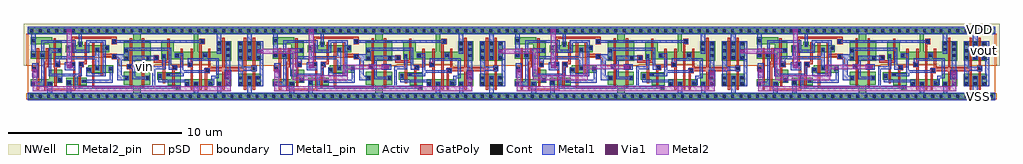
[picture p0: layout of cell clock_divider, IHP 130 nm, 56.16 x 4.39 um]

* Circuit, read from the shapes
.subckt clock_divider VDD VSS vin vout
XM1 n1 sg13cmos5l_dfrbp_1_0/D n2 VSS sg13_lv_nmos w=0.42u l=0.13u
XM2 VSS VDD n1 VSS sg13_lv_nmos w=0.42u l=0.13u
XM3 n3 n4 VSS VSS sg13_lv_nmos w=0.74u l=0.13u
XM4 n5 VDD VSS VSS sg13_lv_nmos w=0.42u l=0.13u
XM5 n6 n3 n5 VSS sg13_lv_nmos w=0.42u l=0.13u
XM6 n4 n7 n2 VSS sg13_lv_nmos w=0.42u l=0.13u
XM7 n6 n8 n4 VSS sg13_lv_nmos w=0.42u l=0.13u
XM8 VSS n7 n8 VSS sg13_lv_nmos w=0.74u l=0.13u
XM9 n7 vin VSS VSS sg13_lv_nmos w=0.74u l=0.13u
XM10 n9 n7 n10 VSS sg13_lv_nmos w=0.42u l=0.13u
XM11 n3 n8 n9 VSS sg13_lv_nmos w=0.74u l=0.13u
XM12 VSS n11 n10 VSS sg13_lv_nmos w=0.42u l=0.13u
XM13 n12 VDD VSS VSS sg13_lv_nmos w=0.42u l=0.13u
XM14 n11 n9 n12 VSS sg13_lv_nmos w=0.42u l=0.13u
XM15 sg13cmos5l_dfrbp_1_0/D n9 VSS VSS sg13_lv_nmos w=0.74u l=0.13u
XM16 VSS n9 n13 VSS sg13_lv_nmos w=0.74u l=0.13u
XM17 sg13cmos5l_dfrbp_1_1/CLK n13 VSS VSS sg13_lv_nmos w=0.74u l=0.13u
XM18 n14 sg13cmos5l_dfrbp_1_1/D n15 VSS sg13_lv_nmos w=0.42u l=0.13u
XM19 VSS VDD n14 VSS sg13_lv_nmos w=0.42u l=0.13u
XM20 n16 n17 VSS VSS sg13_lv_nmos w=0.74u l=0.13u
XM21 n18 VDD VSS VSS sg13_lv_nmos w=0.42u l=0.13u
XM22 n19 n16 n18 VSS sg13_lv_nmos w=0.42u l=0.13u
XM23 n17 n20 n15 VSS sg13_lv_nmos w=0.42u l=0.13u
XM24 n19 n21 n17 VSS sg13_lv_nmos w=0.42u l=0.13u
XM25 VSS n20 n21 VSS sg13_lv_nmos w=0.74u l=0.13u
XM26 n20 sg13cmos5l_dfrbp_1_1/CLK VSS VSS sg13_lv_nmos w=0.74u l=0.13u
XM27 n22 n20 n23 VSS sg13_lv_nmos w=0.42u l=0.13u
XM28 n16 n21 n22 VSS sg13_lv_nmos w=0.74u l=0.13u
XM29 VSS n24 n23 VSS sg13_lv_nmos w=0.42u l=0.13u
XM30 n25 VDD VSS VSS sg13_lv_nmos w=0.42u l=0.13u
XM31 n24 n22 n25 VSS sg13_lv_nmos w=0.42u l=0.13u
XM32 sg13cmos5l_dfrbp_1_1/D n22 VSS VSS sg13_lv_nmos w=0.74u l=0.13u
XM33 VSS n22 n26 VSS sg13_lv_nmos w=0.74u l=0.13u
XM34 sg13cmos5l_dfrbp_1_2/CLK n26 VSS VSS sg13_lv_nmos w=0.74u l=0.13u
XM35 n27 sg13cmos5l_dfrbp_1_2/D n28 VSS sg13_lv_nmos w=0.42u l=0.13u
XM36 VSS VDD n27 VSS sg13_lv_nmos w=0.42u l=0.13u
XM37 n29 n30 VSS VSS sg13_lv_nmos w=0.74u l=0.13u
XM38 n31 VDD VSS VSS sg13_lv_nmos w=0.42u l=0.13u
XM39 n32 n29 n31 VSS sg13_lv_nmos w=0.42u l=0.13u
XM40 n30 n33 n28 VSS sg13_lv_nmos w=0.42u l=0.13u
XM41 n32 n34 n30 VSS sg13_lv_nmos w=0.42u l=0.13u
XM42 VSS n33 n34 VSS sg13_lv_nmos w=0.74u l=0.13u
XM43 n33 sg13cmos5l_dfrbp_1_2/CLK VSS VSS sg13_lv_nmos w=0.74u l=0.13u
XM44 n35 n33 n36 VSS sg13_lv_nmos w=0.42u l=0.13u
XM45 n29 n34 n35 VSS sg13_lv_nmos w=0.74u l=0.13u
XM46 VSS n37 n36 VSS sg13_lv_nmos w=0.42u l=0.13u
XM47 n38 VDD VSS VSS sg13_lv_nmos w=0.42u l=0.13u
XM48 n37 n35 n38 VSS sg13_lv_nmos w=0.42u l=0.13u
XM49 sg13cmos5l_dfrbp_1_2/D n35 VSS VSS sg13_lv_nmos w=0.74u l=0.13u
XM50 VSS n35 n39 VSS sg13_lv_nmos w=0.74u l=0.13u
XM51 sg13cmos5l_dfrbp_1_3/CLK n39 VSS VSS sg13_lv_nmos w=0.74u l=0.13u
XM52 n40 sg13cmos5l_dfrbp_1_3/D n41 VSS sg13_lv_nmos w=0.42u l=0.13u
XM53 VSS VDD n40 VSS sg13_lv_nmos w=0.42u l=0.13u
XM54 n42 n43 VSS VSS sg13_lv_nmos w=0.74u l=0.13u
XM55 n44 VDD VSS VSS sg13_lv_nmos w=0.42u l=0.13u
XM56 n45 n42 n44 VSS sg13_lv_nmos w=0.42u l=0.13u
XM57 n43 n46 n41 VSS sg13_lv_nmos w=0.42u l=0.13u
XM58 n45 n47 n43 VSS sg13_lv_nmos w=0.42u l=0.13u
XM59 VSS n46 n47 VSS sg13_lv_nmos w=0.74u l=0.13u
XM60 n46 sg13cmos5l_dfrbp_1_3/CLK VSS VSS sg13_lv_nmos w=0.74u l=0.13u
XM61 n48 n46 n49 VSS sg13_lv_nmos w=0.42u l=0.13u
XM62 n42 n47 n48 VSS sg13_lv_nmos w=0.74u l=0.13u
XM63 VSS n50 n49 VSS sg13_lv_nmos w=0.42u l=0.13u
XM64 n51 VDD VSS VSS sg13_lv_nmos w=0.42u l=0.13u
XM65 n50 n48 n51 VSS sg13_lv_nmos w=0.42u l=0.13u
XM66 sg13cmos5l_dfrbp_1_3/D n48 VSS VSS sg13_lv_nmos w=0.74u l=0.13u
XM67 VSS n48 n52 VSS sg13_lv_nmos w=0.74u l=0.13u
XM68 vout n52 VSS VSS sg13_lv_nmos w=0.74u l=0.13u
XM69 n2 sg13cmos5l_dfrbp_1_0/D VDD VDD sg13_lv_pmos w=0.42u l=0.13u
XM70 VDD VDD n2 VDD sg13_lv_pmos w=0.42u l=0.13u
XM71 n3 n4 VDD VDD sg13_lv_pmos w=1u l=0.13u
XM72 VDD VDD n4 VDD sg13_lv_pmos w=0.42u l=0.13u
XM73 n53 n3 VDD VDD sg13_lv_pmos w=0.42u l=0.13u
XM74 n4 n7 n53 VDD sg13_lv_pmos w=0.42u l=0.13u
XM75 n2 n8 n4 VDD sg13_lv_pmos w=0.42u l=0.13u
XM76 VDD n7 n8 VDD sg13_lv_pmos w=1.12u l=0.13u
XM77 n7 vin VDD VDD sg13_lv_pmos w=1.12u l=0.13u
XM78 n9 n7 n3 VDD sg13_lv_pmos w=1u l=0.13u
XM79 n54 n8 n9 VDD sg13_lv_pmos w=0.42u l=0.13u
XM80 VDD n11 n54 VDD sg13_lv_pmos w=0.42u l=0.13u
XM81 n11 VDD VDD VDD sg13_lv_pmos w=0.42u l=0.13u
XM82 VDD n9 n11 VDD sg13_lv_pmos w=0.42u l=0.13u
XM83 sg13cmos5l_dfrbp_1_0/D n9 VDD VDD sg13_lv_pmos w=1.12u l=0.13u
XM84 VDD n9 n13 VDD sg13_lv_pmos w=1.12u l=0.13u
XM85 sg13cmos5l_dfrbp_1_1/CLK n13 VDD VDD sg13_lv_pmos w=1.12u l=0.13u
XM86 n15 sg13cmos5l_dfrbp_1_1/D VDD VDD sg13_lv_pmos w=0.42u l=0.13u
XM87 VDD VDD n15 VDD sg13_lv_pmos w=0.42u l=0.13u
XM88 n16 n17 VDD VDD sg13_lv_pmos w=1u l=0.13u
XM89 VDD VDD n17 VDD sg13_lv_pmos w=0.42u l=0.13u
XM90 n55 n16 VDD VDD sg13_lv_pmos w=0.42u l=0.13u
XM91 n17 n20 n55 VDD sg13_lv_pmos w=0.42u l=0.13u
XM92 n15 n21 n17 VDD sg13_lv_pmos w=0.42u l=0.13u
XM93 VDD n20 n21 VDD sg13_lv_pmos w=1.12u l=0.13u
XM94 n20 sg13cmos5l_dfrbp_1_1/CLK VDD VDD sg13_lv_pmos w=1.12u l=0.13u
XM95 n22 n20 n16 VDD sg13_lv_pmos w=1u l=0.13u
XM96 n56 n21 n22 VDD sg13_lv_pmos w=0.42u l=0.13u
XM97 VDD n24 n56 VDD sg13_lv_pmos w=0.42u l=0.13u
XM98 n24 VDD VDD VDD sg13_lv_pmos w=0.42u l=0.13u
XM99 VDD n22 n24 VDD sg13_lv_pmos w=0.42u l=0.13u
XM100 sg13cmos5l_dfrbp_1_1/D n22 VDD VDD sg13_lv_pmos w=1.12u l=0.13u
XM101 VDD n22 n26 VDD sg13_lv_pmos w=1.12u l=0.13u
XM102 sg13cmos5l_dfrbp_1_2/CLK n26 VDD VDD sg13_lv_pmos w=1.12u l=0.13u
XM103 n28 sg13cmos5l_dfrbp_1_2/D VDD VDD sg13_lv_pmos w=0.42u l=0.13u
XM104 VDD VDD n28 VDD sg13_lv_pmos w=0.42u l=0.13u
XM105 n29 n30 VDD VDD sg13_lv_pmos w=1u l=0.13u
XM106 VDD VDD n30 VDD sg13_lv_pmos w=0.42u l=0.13u
XM107 n57 n29 VDD VDD sg13_lv_pmos w=0.42u l=0.13u
XM108 n30 n33 n57 VDD sg13_lv_pmos w=0.42u l=0.13u
XM109 n28 n34 n30 VDD sg13_lv_pmos w=0.42u l=0.13u
XM110 VDD n33 n34 VDD sg13_lv_pmos w=1.12u l=0.13u
XM111 n33 sg13cmos5l_dfrbp_1_2/CLK VDD VDD sg13_lv_pmos w=1.12u l=0.13u
XM112 n35 n33 n29 VDD sg13_lv_pmos w=1u l=0.13u
XM113 n58 n34 n35 VDD sg13_lv_pmos w=0.42u l=0.13u
XM114 VDD n37 n58 VDD sg13_lv_pmos w=0.42u l=0.13u
XM115 n37 VDD VDD VDD sg13_lv_pmos w=0.42u l=0.13u
XM116 VDD n35 n37 VDD sg13_lv_pmos w=0.42u l=0.13u
XM117 sg13cmos5l_dfrbp_1_2/D n35 VDD VDD sg13_lv_pmos w=1.12u l=0.13u
XM118 VDD n35 n39 VDD sg13_lv_pmos w=1.12u l=0.13u
XM119 sg13cmos5l_dfrbp_1_3/CLK n39 VDD VDD sg13_lv_pmos w=1.12u l=0.13u
XM120 n41 sg13cmos5l_dfrbp_1_3/D VDD VDD sg13_lv_pmos w=0.42u l=0.13u
XM121 VDD VDD n41 VDD sg13_lv_pmos w=0.42u l=0.13u
XM122 n42 n43 VDD VDD sg13_lv_pmos w=1u l=0.13u
XM123 VDD VDD n43 VDD sg13_lv_pmos w=0.42u l=0.13u
XM124 n59 n42 VDD VDD sg13_lv_pmos w=0.42u l=0.13u
XM125 n43 n46 n59 VDD sg13_lv_pmos w=0.42u l=0.13u
XM126 n41 n47 n43 VDD sg13_lv_pmos w=0.42u l=0.13u
XM127 VDD n46 n47 VDD sg13_lv_pmos w=1.12u l=0.13u
XM128 n46 sg13cmos5l_dfrbp_1_3/CLK VDD VDD sg13_lv_pmos w=1.12u l=0.13u
XM129 n48 n46 n42 VDD sg13_lv_pmos w=1u l=0.13u
XM130 n60 n47 n48 VDD sg13_lv_pmos w=0.42u l=0.13u
XM131 VDD n50 n60 VDD sg13_lv_pmos w=0.42u l=0.13u
XM132 n50 VDD VDD VDD sg13_lv_pmos w=0.42u l=0.13u
XM133 VDD n48 n50 VDD sg13_lv_pmos w=0.42u l=0.13u
XM134 sg13cmos5l_dfrbp_1_3/D n48 VDD VDD sg13_lv_pmos w=1.12u l=0.13u
XM135 VDD n48 n52 VDD sg13_lv_pmos w=1.12u l=0.13u
XM136 vout n52 VDD VDD sg13_lv_pmos w=1.12u l=0.13u
.ends

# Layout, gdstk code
import gdstk
lib = gdstk.Library(unit=1e-6, precision=1e-09)
def R(c, l, rs):  # rectangles x0, y0, x1, y1
    for r in rs: c.add(gdstk.rectangle(r[:2], r[2:], *l))
def A(c, l, x, y, w, h, nx, ny, dx, dy):  # array of equal rectangles
    R(c, l, [(x+i*dx, y+j*dy, x+i*dx+w, y+j*dy+h) for i in range(nx) for j in range(ny)])
def P(c, l, *ps):  # polygons
    for p in ps: c.add(gdstk.Polygon(p, *l))
Activ = (1, 0)
GatPoly = (5, 0)
Cont = (6, 0)
Metal1 = (8, 0)
Metal1_pin = (8, 2)
Metal2 = (10, 0)
Metal2_pin = (10, 2)
pSD = (14, 0)
Via1 = (19, 0)
NWell = (31, 0)
boundary = (189, 4)

sg13cmos5l_dfrbp_1 = lib.new_cell('sg13cmos5l_dfrbp_1')
R(sg13cmos5l_dfrbp_1, Activ, [(9.03,0.57,10.66,0.99), (10.87,0.57,11.725,1.31), (12.105,0.57,13.425,1.31), (2.215,0.635,3.4,1.055), (12.1,2.06,13.425,3.18), (0,3.63,13.92,3.93)])
P(sg13cmos5l_dfrbp_1, Activ, [(0,-0.15),(0,0.15),(6.075,0.15),(6.075,0.675),(5.535,0.675),(5.535,1.415),(7.045,1.415),(7.045,0.675),(6.505,0.675),(6.505,0.15),(13.92,0.15),(13.92,-0.15)],
  [(10.87,2.06),(10.87,2.145),(7.695,2.145),(7.695,3.145),(8.415,3.145),(8.415,2.565),(9.57,2.565),(9.57,3.63),(9.81,3.63),(9.81,2.565),(10.87,2.565),(10.87,3.18),(11.725,3.18),(11.725,2.06)],
  [(8.52,0.39),(8.52,0.635),(8.06,0.635),(8.06,0.955),(7.445,0.955),(7.445,1.375),(8.82,1.375),(8.82,0.39)],
  [(5.53,2.05),(5.53,3.17),(6.075,3.17),(6.075,3.63),(6.505,3.63),(6.505,3.17),(7.07,3.17),(7.07,2.05)],
  [(3.365,1.36),(3.365,1.66),(3.475,1.66),(3.475,1.78),(4.91,1.78),(4.91,1.36)],
  [(2.19,2.525),(2.19,2.945),(2.88,2.945),(2.88,3.14),(3.18,3.14),(3.18,2.945),(4.685,2.945),(4.685,2.525)],
  [(0.19,0.57),(0.19,0.99),(1.245,0.99),(1.245,1.535),(2,1.535),(2,0.795),(1.445,0.795),(1.445,0.57)],
  [(0.19,2.16),(0.19,2.58),(1.24,2.58),(1.24,3.01),(0.19,3.01),(0.19,3.395),(1.415,3.395),(1.415,3.16),(1.96,3.16),(1.96,2.16)])
R(sg13cmos5l_dfrbp_1, GatPoly, [(12.955,0.39,13.085,3.36), (12.87,1.445,13.17,1.745)])
P(sg13cmos5l_dfrbp_1, GatPoly, [(9.88,0.39),(9.88,3.305),(10.18,3.305),(10.18,3.005),(10.01,3.005),(10.01,0.39)],
  [(3.705,0.465),(3.705,3.125),(3.835,3.125),(3.835,0.605),(5.875,0.605),(5.875,1.555),(5.705,1.555),(5.705,1.855),(5.875,1.855),(5.875,3.35),(6.005,3.35),(6.005,0.465)],
  [(0.53,0.39),(0.53,1.455),(0.235,1.455),(0.235,1.755),(0.53,1.755),(0.53,2.76),(0.66,2.76),(0.66,0.39)],
  [(10.19,0.39),(10.19,1.635),(10.39,1.635),(10.39,2.745),(10.52,2.745),(10.52,1.635),(11.21,1.635),(11.21,3.36),(11.34,3.36),(11.34,1.635),(12.445,1.635),(12.445,3.36),(12.575,3.36),(12.575,0.39),(12.445,0.39),(12.445,1.45),(11.34,1.45),(11.34,0.39),(11.21,0.39),(11.21,1.45),(10.49,1.45),(10.49,1.335),(10.32,1.335),(10.32,0.39)],
  [(9.37,0.39),(9.37,1.67),(9.2,1.67),(9.2,1.97),(9.37,1.97),(9.37,2.745),(9.5,2.745),(9.5,0.39)],
  [(7.785,0.765),(7.785,1.92),(7.245,1.92),(7.245,2.35),(7.545,2.35),(7.545,2.07),(8.035,2.07),(8.035,3.325),(8.165,3.325),(8.165,1.92),(7.915,1.92),(7.915,0.765)],
  [(6.575,0.495),(6.575,3.35),(6.705,3.35),(6.705,1.855),(6.875,1.855),(6.875,1.555),(6.705,1.555),(6.705,0.495)],
  [(4.215,1.18),(4.215,3.125),(4.345,3.125),(4.345,2.44),(5.135,2.44),(5.135,2.14),(4.835,2.14),(4.835,2.29),(4.345,2.29),(4.345,1.18)],
  [(2.93,0.425),(2.93,1.985),(3.275,1.985),(3.275,3.125),(3.405,3.125),(3.405,1.855),(3.23,1.855),(3.23,1.685),(3.06,1.685),(3.06,0.425)],
  [(0.95,0.295),(0.95,1.98),(1.04,1.98),(1.04,2.76),(1.17,2.76),(1.17,1.685),(1.08,1.685),(1.08,0.43),(2.62,0.43),(2.62,1.685),(2.45,1.685),(2.45,1.985),(2.54,1.985),(2.54,3.435),(5.135,3.435),(5.135,3.005),(4.835,3.005),(4.835,3.305),(2.67,3.305),(2.67,1.985),(2.75,1.985),(2.75,0.295)],
  [(1.53,0.615),(1.53,1.685),(1.49,1.685),(1.49,3.34),(1.62,3.34),(1.62,1.985),(1.865,1.985),(1.865,1.685),(1.66,1.685),(1.66,0.615)],
  [(8.32,0.445),(8.32,1.805),(8.795,1.805),(8.795,2.745),(8.925,2.745),(8.925,1.66),(8.62,1.66),(8.62,1.505),(8.45,1.505),(8.45,0.445)])
A(sg13cmos5l_dfrbp_1, Cont, 0.16, -0.08, 0.16, 0.16, 29, 2, 0.48, 3.78)
A(sg13cmos5l_dfrbp_1, Cont, 10.43, 0.64, 0.16, 0.16, 3, 1, 0.51, 0)
A(sg13cmos5l_dfrbp_1, Cont, 12.175, 0.64, 0.16, 0.16, 3, 2, 0.51, 0.34)
A(sg13cmos5l_dfrbp_1, Cont, 12.17, 2.135, 0.16, 0.16, 1, 3, 0, 0.405)
A(sg13cmos5l_dfrbp_1, Cont, 12.685, 2.135, 0.16, 0.16, 1, 3, 0, 0.405)
A(sg13cmos5l_dfrbp_1, Cont, 13.195, 2.135, 0.16, 0.16, 1, 3, 0, 0.405)
A(sg13cmos5l_dfrbp_1, Cont, 11.45, 2.27, 0.16, 0.16, 1, 3, 0, 0.34)
R(sg13cmos5l_dfrbp_1, Cont, [(8.59,0.465,8.75,0.625), (0.26,0.64,0.42,0.8), (1.19,0.64,1.35,0.8), (9.1,0.64,9.26,0.8), (9.61,0.64,9.77,0.8), (2.285,0.705,2.445,0.865), (3.17,0.795,3.33,0.955), (1.77,0.88,1.93,1.04), (5.605,0.97,5.765,1.13), (6.815,0.97,6.975,1.13), (11.45,0.98,11.61,1.14), (7.515,1.075,7.675,1.235), (8.025,1.145,8.185,1.305), (10.26,1.405,10.42,1.565), (3.435,1.43,3.595,1.59), (4.68,1.49,4.84,1.65), (12.94,1.515,13.1,1.675), (0.305,1.525,0.465,1.685), (3.945,1.55,4.105,1.71), (8.39,1.575,8.55,1.735), (5.775,1.625,5.935,1.785), (6.645,1.625,6.805,1.785), (9.27,1.74,9.43,1.9), (1.635,1.755,1.795,1.915), (2.52,1.755,2.68,1.915), (3,1.755,3.16,1.915), (5.6,2.12,5.76,2.28), (6.84,2.12,7,2.28), (7.315,2.12,7.475,2.28), (4.905,2.21,5.065,2.37), (7.765,2.215,7.925,2.375), (8.525,2.275,8.685,2.435), (10.12,2.275,10.28,2.435), (0.26,2.29,0.42,2.45), (0.77,2.29,0.93,2.45), (5.6,2.54,5.76,2.7), (1.73,2.55,1.89,2.71), (3.945,2.595,4.105,2.755), (10.94,2.61,11.1,2.77), (2.26,2.69,2.42,2.85), (4.455,2.705,4.615,2.865), (2.95,2.91,3.11,3.07), (10.94,2.95,11.1,3.11), (4.905,3.075,5.065,3.235), (9.95,3.075,10.11,3.235), (0.265,3.12,0.425,3.28)])
R(sg13cmos5l_dfrbp_1, Metal1, [(0.255,1.07,0.6,1.89), (2.145,1.51,2.75,1.965), (6.45,1.52,6.99,1.84)])
P(sg13cmos5l_dfrbp_1, Metal1, [(10.38,0.625),(10.38,0.885),(10.57,0.885),(10.57,1.19),(10.84,1.19),(10.84,2.035),(9.48,2.035),(9.48,1.69),(9.22,1.69),(9.22,2.195),(10.07,2.195),(10.07,2.495),(10.33,2.495),(10.33,2.195),(11,2.195),(11,1.03),(10.73,1.03),(10.73,0.625)],
  [(12.125,0.59),(12.125,3.155),(12.385,3.155),(12.385,1.71),(12.87,1.71),(12.87,1.745),(13.17,1.745),(13.17,1.445),(12.87,1.445),(12.87,1.485),(12.385,1.485),(12.385,0.59)],
  [(13.125,0.59),(13.125,1.19),(13.35,1.19),(13.35,2.095),(13.145,2.095),(13.145,3.155),(13.56,3.155),(13.56,0.59)],
  [(4.855,3.025),(4.855,3.285),(5.115,3.285),(5.115,3.235),(9.91,3.235),(9.91,3.285),(10.16,3.285),(10.16,3.025),(9.91,3.025),(9.91,3.075),(5.115,3.075),(5.115,3.025)],
  [(6.755,0.92),(6.755,0.98),(6.02,0.98),(6.02,1.575),(5.725,1.575),(5.725,1.835),(6.02,1.835),(6.02,2.33),(7.525,2.33),(7.525,2.07),(6.18,2.07),(6.18,1.14),(6.755,1.14),(6.755,1.18),(6.99,1.18),(6.99,0.92)],
  [(0.21,0.59),(0.21,0.85),(0.785,0.85),(0.785,2.24),(0.72,2.24),(0.72,2.5),(0.785,2.5),(0.785,3.24),(2.765,3.24),(2.765,2.68),(3.365,2.68),(3.365,3.24),(4.505,3.24),(4.505,2.915),(4.665,2.915),(4.665,2.655),(4.48,2.655),(4.48,1.16),(3.385,1.16),(3.385,1.64),(3.645,1.64),(3.645,1.32),(4.32,1.32),(4.32,3.08),(3.535,3.08),(3.535,2.52),(2.605,2.52),(2.605,3.08),(0.95,3.08),(0.95,2.5),(0.98,2.5),(0.98,2.24),(0.95,2.24),(0.95,0.59)],
  [(0,-0.22),(0,0.22),(1.14,0.22),(1.14,0.85),(1.41,0.85),(1.41,0.22),(2.235,0.22),(2.235,0.915),(2.495,0.915),(2.495,0.22),(9.56,0.22),(9.56,0.85),(9.82,0.85),(9.82,0.22),(10.91,0.22),(10.91,0.85),(11.15,0.85),(11.15,0.22),(12.635,0.22),(12.635,1.19),(12.895,1.19),(12.895,0.22),(13.92,0.22),(13.92,-0.22)],
  [(5.145,0.92),(5.145,2.16),(4.855,2.16),(4.855,2.42),(5.55,2.42),(5.55,2.8),(8.275,2.8),(8.275,1.785),(8.6,1.785),(8.6,1.525),(8.115,1.525),(8.115,2.63),(5.81,2.63),(5.81,2.07),(5.42,2.07),(5.42,1.18),(5.815,1.18),(5.815,0.92)],
  [(12.63,2.1),(12.63,3.56),(11.15,3.56),(11.15,2.46),(10.89,2.46),(10.89,3.56),(3.115,3.56),(3.115,2.86),(2.945,2.86),(2.945,3.56),(0.475,3.56),(0.475,2.24),(0.215,2.24),(0.215,3.56),(0,3.56),(0,4),(13.92,4),(13.92,3.56),(12.9,3.56),(12.9,2.1)],
  [(11.4,0.59),(11.4,0.99),(11.34,0.99),(11.34,1.52),(11.4,1.52),(11.4,3.155),(11.66,3.155),(11.66,1.52),(11.725,1.52),(11.725,0.99),(11.66,0.99),(11.66,0.59)],
  [(7.96,1.145),(7.96,1.315),(8.79,1.315),(8.79,2.225),(8.475,2.225),(8.475,2.485),(8.95,2.485),(8.95,1.51),(10.165,1.51),(10.165,1.625),(10.47,1.625),(10.47,1.35),(8.97,1.35),(8.97,1.145)],
  [(9.05,0.59),(9.05,0.805),(7.51,0.805),(7.51,1.31),(7.725,1.31),(7.725,0.965),(9.31,0.965),(9.31,0.59)],
  [(3.12,0.785),(3.12,0.96),(4.725,0.96),(4.725,1.44),(4.66,1.44),(4.66,1.7),(4.905,1.7),(4.905,0.785)],
  [(3.895,1.5),(3.895,2.145),(1.845,2.145),(1.845,1.705),(1.585,1.705),(1.585,2.305),(2.245,2.305),(2.245,2.9),(2.425,2.9),(2.425,2.315),(3.895,2.315),(3.895,2.805),(4.115,2.805),(4.115,1.5)],
  [(2.705,0.44),(2.705,1.15),(1.98,1.15),(1.98,0.815),(1.72,0.815),(1.72,1.15),(1.2,1.15),(1.2,2.76),(1.94,2.76),(1.94,2.5),(1.36,2.5),(1.36,1.31),(2.95,1.31),(2.95,1.965),(3.21,1.965),(3.21,1.705),(3.11,1.705),(3.11,1.15),(2.875,1.15),(2.875,0.605),(7.17,0.605),(7.17,1.725),(7.745,1.725),(7.745,2.425),(7.935,2.425),(7.935,1.555),(7.33,1.555),(7.33,0.605),(8.54,0.605),(8.54,0.625),(8.8,0.625),(8.8,0.44)])
R(sg13cmos5l_dfrbp_1, Metal1_pin, [(0,-0.22,13.92,0.22), (11.34,0.99,11.725,1.52), (0.255,1.07,0.6,1.89), (2.145,1.51,2.75,1.965), (6.45,1.52,6.99,1.84), (13.145,2.095,13.56,3.155), (0,3.56,13.92,4)])
R(sg13cmos5l_dfrbp_1, pSD, [(-0.07,-0.18,14,0.18)])
P(sg13cmos5l_dfrbp_1, pSD, [(10.555,1.66),(10.555,1.76),(7.245,1.76),(7.245,1.75),(5.23,1.75),(5.23,2.225),(2.255,2.225),(2.255,1.835),(0.945,1.835),(0.945,1.76),(-0.07,1.76),(-0.07,3.6),(14,3.6),(14,1.76),(12.56,1.76),(12.56,1.66)])
P(sg13cmos5l_dfrbp_1, NWell, [(5.22,1.74),(5.22,2.215),(2.27,2.215),(2.27,1.85),(0.935,1.85),(0.935,1.75),(-0.24,1.75),(-0.24,4.17),(14.16,4.17),(14.16,1.75),(10.655,1.75),(10.655,1.835),(7.315,1.835),(7.315,1.74)])
R(sg13cmos5l_dfrbp_1, boundary, [(0,0,13.92,3.78)])
sg13cmos5l_dfrbp_1.add(gdstk.Label('CLK', (6.69,1.655), layer=8, texttype=25))
sg13cmos5l_dfrbp_1.add(gdstk.Label('VSS', (6.77,0), layer=8, texttype=25))
sg13cmos5l_dfrbp_1.add(gdstk.Label('D', (0.325,1.53), layer=8, texttype=25))
sg13cmos5l_dfrbp_1.add(gdstk.Label('Q_N', (11.56,1.295), layer=8, texttype=25))
sg13cmos5l_dfrbp_1.add(gdstk.Label('Q', (13.34,2.61), layer=8, texttype=25))
sg13cmos5l_dfrbp_1.add(gdstk.Label('RESET_B', (2.385,1.73), layer=8, texttype=25))
sg13cmos5l_dfrbp_1.add(gdstk.Label('VDD', (2.085,3.79), layer=8, texttype=25))

via = lib.new_cell('Via')
R(via, Metal1, [(-0.145,-0.105,0.145,0.105)])
R(via, Metal2, [(-0.145,-0.1,0.145,0.1)])
R(via, Via1, [(-0.095,-0.095,0.095,0.095)])

clock_divider = lib.new_cell('clock_divider')
R(clock_divider, Metal1_pin, [(54.645,0.165,54.775,0.295), (54.995,2.785,55.125,2.915), (54.685,3.975,54.815,4.105)])
R(clock_divider, Metal2, [(6.45,1.74,6.99,2.06)])
R(clock_divider, Metal2_pin, [(6.655,1.855,6.785,1.985)])
clock_divider.add(gdstk.FlexPath([(0.42,1.595),(0.42,0.65),(11.54,0.65),(11.54,1.425)], 0.28, ends="flush", simple_path=True, layer=10, datatype=0))  # Metal2
clock_divider.add(gdstk.FlexPath([(0.42,1.595),(0.42,0.65),(11.54,0.65),(11.54,1.425)], 0.28, ends="flush", simple_path=True, layer=10, datatype=0))  # Metal2
clock_divider.add(gdstk.FlexPath([(14.33,1.595),(14.33,0.65),(25.45,0.65),(25.45,1.425)], 0.28, ends="flush", simple_path=True, layer=10, datatype=0))  # Metal2
clock_divider.add(gdstk.FlexPath([(28.27,1.595),(28.27,0.65),(39.39,0.65),(39.39,1.425)], 0.28, ends="flush", simple_path=True, layer=10, datatype=0))  # Metal2
clock_divider.add(gdstk.FlexPath([(42.18,1.595),(42.18,0.65),(53.3,0.65),(53.3,1.425)], 0.28, ends="flush", simple_path=True, layer=10, datatype=0))  # Metal2
clock_divider.add(gdstk.FlexPath([(13.525,2.81),(15.38,2.81),(15.38,1.29),(18.265,1.29),(18.265,1.91),(20.485,1.91)], 0.28, ends="flush", simple_path=True, layer=10, datatype=0))  # Metal2
clock_divider.add(gdstk.FlexPath([(27.355,2.81),(29.21,2.81),(29.21,1.29),(32.095,1.29),(32.095,1.91),(34.315,1.91)], 0.28, ends="flush", simple_path=True, layer=10, datatype=0))  # Metal2
clock_divider.add(gdstk.FlexPath([(41.31,2.81),(43.165,2.81),(43.165,1.29),(46.05,1.29),(46.05,1.91),(48.27,1.91)], 0.28, ends="flush", simple_path=True, layer=10, datatype=0))  # Metal2
clock_divider.add(gdstk.FlexPath([(41.305,2.81),(43.16,2.81),(43.16,1.29),(46.045,1.29),(46.045,1.91),(48.265,1.91)], 0.28, ends="flush", simple_path=True, layer=10, datatype=0))  # Metal2
clock_divider.add(gdstk.FlexPath([(2.4,2.025),(2.4,3.9)], 0.28, ends="flush", simple_path=True, layer=10, datatype=0))  # Metal2
clock_divider.add(gdstk.FlexPath([(16.32,2.025),(16.32,3.9)], 0.28, ends="flush", simple_path=True, layer=10, datatype=0))  # Metal2
clock_divider.add(gdstk.FlexPath([(30.25,2.025),(30.25,3.9)], 0.28, ends="flush", simple_path=True, layer=10, datatype=0))  # Metal2
clock_divider.add(gdstk.FlexPath([(44.18,2.025),(44.18,3.9)], 0.28, ends="flush", simple_path=True, layer=10, datatype=0))  # Metal2
clock_divider.add(gdstk.Reference(sg13cmos5l_dfrbp_1, (0,0.22)))
clock_divider.add(gdstk.Reference(sg13cmos5l_dfrbp_1, (13.92,0.22)))
clock_divider.add(gdstk.Reference(sg13cmos5l_dfrbp_1, (27.84,0.22)))
clock_divider.add(gdstk.Reference(sg13cmos5l_dfrbp_1, (41.76,0.22)))
clock_divider.add(gdstk.Reference(via, (2.4,4)))
clock_divider.add(gdstk.Reference(via, (2.4,1.93)))
clock_divider.add(gdstk.Reference(via, (11.54,1.52)))
clock_divider.add(gdstk.Reference(via, (6.71,1.92)))
clock_divider.add(gdstk.Reference(via, (13.38,2.81)))
clock_divider.add(gdstk.Reference(via, (0.42,1.69)))
clock_divider.add(gdstk.Reference(via, (13.38,2.81)))
clock_divider.add(gdstk.Reference(via, (0.42,1.69)))
clock_divider.add(gdstk.Reference(via, (11.54,1.52)))
clock_divider.add(gdstk.Reference(via, (14.33,1.69)))
clock_divider.add(gdstk.Reference(via, (25.45,1.52)))
clock_divider.add(gdstk.Reference(via, (28.27,1.69)))
clock_divider.add(gdstk.Reference(via, (39.39,1.52)))
clock_divider.add(gdstk.Reference(via, (42.18,1.69)))
clock_divider.add(gdstk.Reference(via, (53.3,1.52)))
clock_divider.add(gdstk.Reference(via, (20.63,1.91)))
clock_divider.add(gdstk.Reference(via, (27.21,2.81)))
clock_divider.add(gdstk.Reference(via, (34.46,1.91)))
clock_divider.add(gdstk.Reference(via, (41.16,2.81)))
clock_divider.add(gdstk.Reference(via, (48.41,1.91)))
clock_divider.add(gdstk.Reference(via, (41.16,2.81)))
clock_divider.add(gdstk.Reference(via, (48.41,1.91)))
clock_divider.add(gdstk.Reference(via, (16.32,4)))
clock_divider.add(gdstk.Reference(via, (16.32,1.93)))
clock_divider.add(gdstk.Reference(via, (30.25,4)))
clock_divider.add(gdstk.Reference(via, (30.25,1.93)))
clock_divider.add(gdstk.Reference(via, (44.18,4)))
clock_divider.add(gdstk.Reference(via, (44.18,1.93)))
clock_divider.add(gdstk.Label('vout', (55.06,2.85), layer=8, texttype=25))
clock_divider.add(gdstk.Label('VDD', (54.75,4.04), layer=8, texttype=25))
clock_divider.add(gdstk.Label('VSS', (54.71,0.23), layer=8, texttype=25))
clock_divider.add(gdstk.Label('vin', (6.72,1.92), layer=10, texttype=25))

lib.write_gds('clock_divider.gds')
